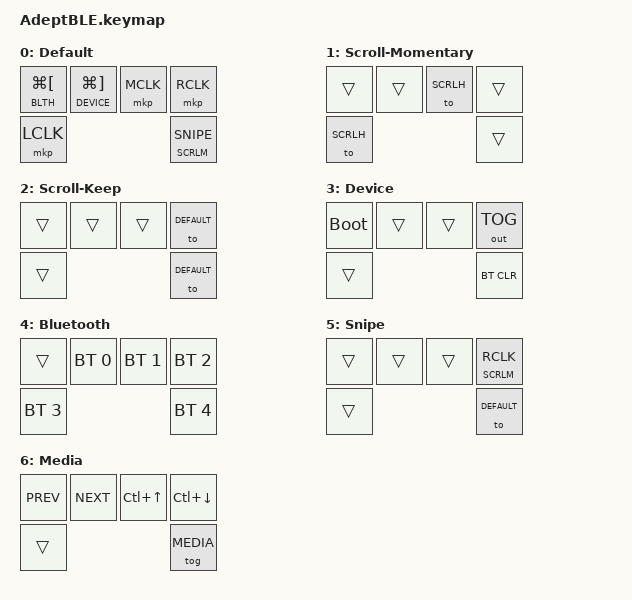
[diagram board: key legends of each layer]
#include <behaviors.dtsi>
#include <dt-bindings/zmk/bt.h>
#include <dt-bindings/zmk/keys.h>
#include <dt-bindings/zmk/pointing.h>
#include <dt-bindings/zmk/outputs.h>

// #include <dt-bindings/zmk/mouse.h>

#define BACK LG(LBKT)
#define FWD  LG(RBKT)

#define UNDO_    &kp LG(Z)
#define CUT_     &kp LG(X)
#define COPY_    &kp LG(C)
#define PASTE_   &kp LG(V)
#define REDO_    &kp LS(LG(Z))
#define MISS_CTL &kp LC(UP)
#define EXPOSE   &kp LC(DOWN)

#define DEFAULT 0
#define SCRLM 1
#define SCRLH 2
#define DEVICE 3
#define BLTH 4
#define SNIPE 5
#define MEDIA 6

/ {
  combos {
    compatible = "zmk,combos";
    combo_esc {
      timeout-ms = <50>; // TODO what is the default?
      key-positions = <2 3>;
      bindings = <&mkp RCLK>;
    };
    copy {
      timeout-ms = <50>;
      key-positions = <3 4>;
      bindings = <&kp LG(C)>;
    };
    paste {
      timeout-ms = <50>;
      key-positions = <4 5>;
      bindings = <&kp LG(V)>;
    };
    cut {
      timeout-ms = <50>;
      key-positions = <0 1>;
      bindings = <&kp LG(X)>;
    };
    media_layer_toggle {
      timeout-ms = <50>;
      key-positions = <0 4>;
      bindings = <&tog MEDIA>;
    };

    /* TODO combos to create
        - btn1 + btn2:  copy
        - btn1 + scroll:  paste
        - back + fwd:  cut
        - btn1 + back:  toggle to media layer
        - media back + media fwd:  play/pause
     */
  };
  behaviors {
    ltm: layer-tap-momentary {
      compatible = "zmk,behavior-hold-tap";
      #binding-cells = <2>;
      flavor = "tap-preferred";
      tapping-term-ms = <200>;
      bindings = <&mo>, <&kp>;
    };
    lth: layer-tap-hold-while-undecided {
      compatible = "zmk,behavior-hold-tap";
      #binding-cells = <2>;
      flavor = "hold-preferred";
      hold-while-undecided;
      tapping-term-ms = <150>;
      bindings = <&mo>, <&mkp>;
    };
    mto: momentary-or-toggle {
      compatible = "zmk,behavior-hold-tap";
      #binding-cells = <2>;
      flavor = "hold-preferred";
      hold-while-undecided;
      tapping-term-ms = <200>;
      bindings = <&mo>, <&to>;
    };
  };
  keymap {
    compatible = "zmk,keymap";
    default_layer {
      display-name = "Default";
      bindings = <
        &ltm BLTH BACK  &ltm DEVICE FWD   &mkp MCLK     &mkp RCLK
        &mkp LCLK                                       &mto SCRLM SNIPE
      >;
    };
    scroll_tap_layer {
      display-name = "Scroll-Momentary";
      bindings = <
        &trans          &trans            &to SCRLH     &trans
        &to SCRLH                                       &trans
      >;
    };
    scroll_hold_layer {
      display-name = "Scroll-Keep";
      bindings = <
        &trans          &trans            &trans        &to DEFAULT
        &trans                                          &to DEFAULT
      >;
    };
    device_layer {
      display-name = "Device";
      bindings = <
        &bootloader     &trans            &trans        &out OUT_TOG
        &trans                                          &bt BT_CLR
      >;
    };
    bluetooth_layer {
      display-name = "Bluetooth";
      bindings = <
        &trans          &bt BT_SEL 0      &bt BT_SEL 1  &bt BT_SEL 2
        &bt BT_SEL 3                                    &bt BT_SEL 4
      >;
    };
    snipe_layer {
      display-name = "Snipe";
      bindings = <
        &trans          &trans            &trans        &lth SCRLM RCLK
        &trans                                          &to DEFAULT
      >;
    };
    media_layer {
      display-name = "Media";
      bindings = <
        &kp C_PREV      &kp C_NEXT        MISS_CTL      EXPOSE
        &trans                                          &tog MEDIA
        /*
          prev next mission control expose
          btn1                      toggle to default
         */
      >;
    };
  };
};
